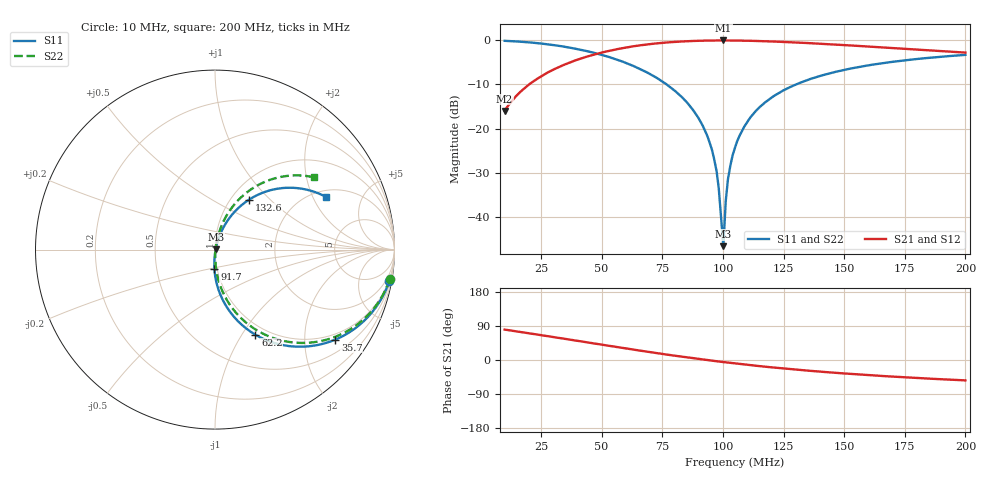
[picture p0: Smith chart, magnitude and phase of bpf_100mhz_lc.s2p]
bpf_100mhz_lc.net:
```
# Qucs-S Headless RF Netlist for 100 MHz LC Tank Bandpass Filter
Pac:P1 _net_in 0 Num="1" Z="50.0 Ohm" P="0 dBm" f="0.1 GHz"
Pac:P2 _net_out 0 Num="2" Z="50.0 Ohm" P="0 dBm" f="0.1 GHz"
2Port:X1 _net_in _net_out 0 File="projects/bpf_100mhz_lc/simulation/bpf_100mhz_lc.s2p" Type="linear"
.SP:SP1 Type="lin" Start="0.01 GHz" Stop="0.2 GHz" Points="201" Noise="no"
```
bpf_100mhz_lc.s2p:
! Touchstone 2-Port S-Parameter Data
! Circuit: 100 MHz LC Tank Bandpass Filter
! Substrate: FR4 (er=4.4, h=1.6mm)
! Transmission Line: CPWG (w=1.87mm, s=0.40mm, eps_eff=2.88)
! Simulation Mode: traces
# GHz S MA R 50.0
! Freq(GHz)  S11_mag S11_ang  S21_mag S21_ang  S12_mag S12_ang  S22_mag S22_ang
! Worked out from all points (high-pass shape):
!   201 points, 10 MHz to 200 MHz, reference 50 ohm
!   highest |S21| = -0.03 dB at 100.2 MHz (marker M1); lowest = -16.0 dB at 10 MHz (marker M2)
!   |S21| within 3 dB of the highest: 48.2 MHz to end of sweep
!   lowest |S11| = -46.6 dB at 100.2 MHz (marker M3), VSWR 1.01, Z = 50.4 + j0.243 ohm
!   |S11| at or under -10 dB: 76.84 MHz to 130.1 MHz (53.24 MHz wide, 51.5 % of centre)
!   |S22| runs from -46.6 to -0.1 dB; largest |S21 - S12| = 0
!   S11 on the Smith chart (normalised r, x): 10 MHz: 1, -11; 35.7 MHz: 0.83, -2.79; 62.2 MHz: 0.88, -1.15; 91.7 MHz: 0.97, -0.21; 132.6 MHz: 1.21, +0.76; 200 MHz: 2.29, +2.53
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0.01  0.9872 -10.2  0.1587 80.3  0.1587 80.3  0.9872 -9.7
0.0357  0.8376 -36.8  0.5444 55.0  0.5444 55.0  0.8376 -34.9
0.0622  0.5245 -64.6  0.8484 28.3  0.8484 28.3  0.5245 -61.3
0.0917  0.1081 -91.7  0.9907 1.3  0.9907 1.3  0.1081 -86.8
0.0974  0.03317 -92.4  0.996 -3.3  0.996 -3.3  0.03317 -87.2
0.1002  0.004679 31.0  0.9965 -5.5  0.9965 -5.5  0.004679 36.3
0.1021  0.02685 70.2  0.9962 -6.9  0.9962 -6.9  0.02685 75.6
0.105  0.0611 72.1  0.9947 -9.1  0.9947 -9.1  0.0611 77.7
0.1154  0.1777 66.4  0.9807 -16.4  0.9807 -16.4  0.1777 72.5
0.1326  0.3367 55.7  0.9383 -26.7  0.9383 -26.7  0.3367 62.7
0.2  0.6846 25.4  0.7264 -53.8  0.7264 -53.8  0.6846 36.0
